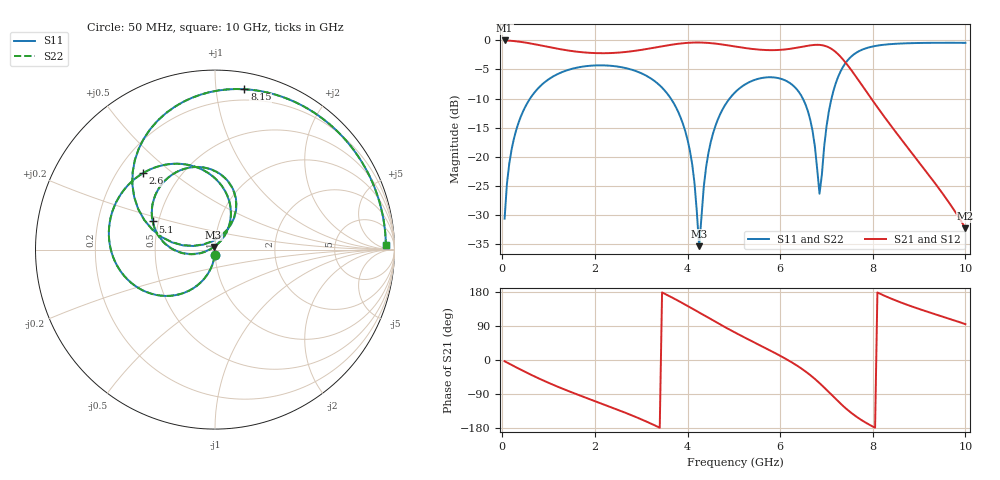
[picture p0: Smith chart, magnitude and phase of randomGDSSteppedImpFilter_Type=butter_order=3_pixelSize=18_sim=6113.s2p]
! freq	dB(S11)	phase(S11)	dB(S12)	phase(S12)
!  dB(S21)	phase(S21)	dB(S22)	phase(S22)
!S-par simulation data
#  GHz  S  DB  R 50
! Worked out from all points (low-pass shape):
!   200 points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, 50 MHz to 10 GHz, reference 50 ohm
!   highest |S21| = -0.01 dB at 50 MHz (marker M1); lowest = -32.3 dB at 10 GHz (marker M2)
!   |S21| within 3 dB of the highest: start of sweep to 7.327 GHz
!   lowest |S11| = -35.4 dB at 4.25 GHz (marker M3), VSWR 1.03, Z = 49.2 + j1.51 ohm
!   |S11| at or under -10 dB: start of sweep to 599.1 MHz; 3.64 GHz to 4.908 GHz (1.268 GHz wide, 29.7 % of centre); 6.49 GHz to 7.109 GHz (619.1 MHz wide, 9.1 % of centre)
!   |S22| runs from -36.1 to -0.4 dB; largest |S21 - S12| = 0
!   S11 on the Smith chart (normalised r, x): 50 MHz: 0.99, -0.06; 2.6 GHz: 0.31, +0.40; 5.1 GHz: 0.47, +0.17; 8.15 GHz: 0.12, +1.19; 10 GHz: 33, +16
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0.05  -30.63 -93.3  -0.01 -3.3  -0.01 -3.3  -30.63 -93.3
0.2  -18.78 -103.4  -0.08 -13.0  -0.08 -13.0  -18.78 -103.4
0.5  -11.35 -122.3  -0.38 -31.8  -0.38 -31.8  -11.35 -122.3
1.75  -4.49 172.5  -2.06 -97.1  -2.06 -97.1  -4.49 172.5
2.6  -4.65 133.4  -2.04 -136.4  -2.04 -136.4  -4.65 133.4
3.4  -7.73 92.1  -1.08 -178.8  -1.08 -178.8  -7.73 92.0
4  -17.07 58.4  -0.42 142.7  -0.42 142.7  -17.08 57.9
4.15  -24.47 57.3  -0.37 132.4  -0.37 132.4  -24.53 56.0
4.25  -35.35 116.4  -0.36 125.4  -0.36 125.4  -36.09 115.6
4.35  -25.20 -169.0  -0.39 118.4  -0.39 118.4  -25.26 -167.5
4.5  -17.51 -169.4  -0.47 107.9  -0.47 107.9  -17.52 -168.6
5.05  -8.74 158.7  -1.08 70.9  -1.08 70.9  -8.74 159.0
5.1  -8.39 155.7  -1.14 67.7  -1.14 67.7  -8.39 155.9
6  -6.56 101.5  -1.63 11.2  -1.63 11.2  -6.56 101.7
6.7  -15.56 57.4  -0.80 -44.8  -0.80 -44.8  -15.54 58.0
6.85  -26.34 106.3  -0.77 -60.9  -0.77 -60.9  -26.10 106.7
7.05  -12.28 170.4  -1.20 -84.6  -1.20 -84.6  -12.27 170.2
7.25  -6.30 152.2  -2.36 -108.9  -2.36 -108.9  -6.30 152.1
7.7  -1.86 109.9  -6.94 -154.0  -6.94 -154.0  -1.86 109.9
8.15  -0.83 79.6  -12.04 175.3  -12.04 175.3  -0.83 79.7
8.35  -0.66 68.7  -14.20 164.4  -14.20 164.4  -0.66 68.9
10  -0.42 1.4  -32.26 94.6  -32.26 94.6  -0.42 1.6
